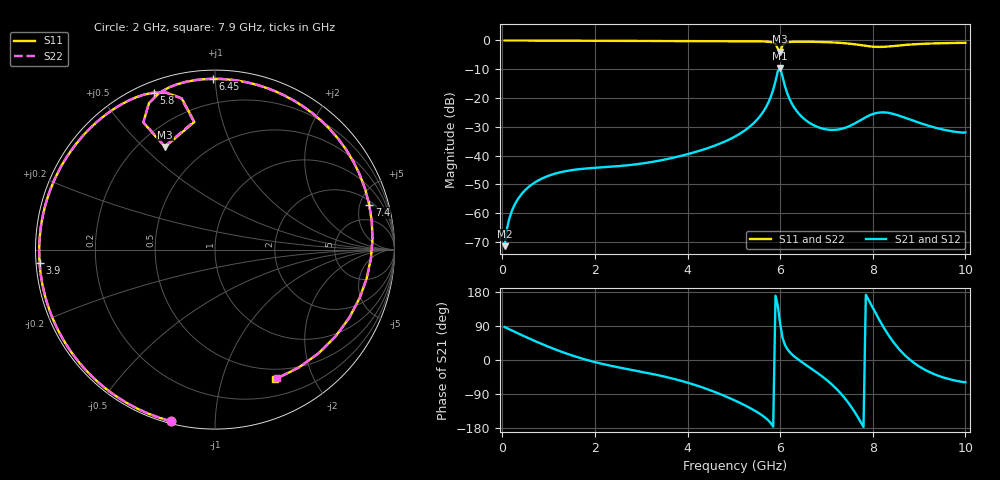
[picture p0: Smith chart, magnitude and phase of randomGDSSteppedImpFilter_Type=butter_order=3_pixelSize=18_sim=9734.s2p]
! freq	dB(S11)	phase(S11)	dB(S12)	phase(S12)
!  dB(S21)	phase(S21)	dB(S22)	phase(S22)
!S-par simulation data
#  GHz  S  DB  R 50
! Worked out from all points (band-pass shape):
!   200 points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, 50 MHz to 10 GHz, reference 50 ohm
!   highest |S21| = -9.58 dB at 6 GHz (marker M1); lowest = -71.5 dB at 50 MHz (marker M2)
!   |S21| within 3 dB of the highest: 5.922 GHz to 6.052 GHz (129.7 MHz wide, 2.17 % of centre)
!   lowest |S11| = -3.9 dB at 6 GHz (marker M3), VSWR 4.50, Z = 15.2 + j29.2 ohm
!   |S11| at or under -10 dB: nowhere
!   |S22| runs from -3.9 to 0.0 dB; largest |S21 - S12| = 0
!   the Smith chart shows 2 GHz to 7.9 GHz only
!   S11 on the Smith chart (normalised r, x): 2 GHz: 0.01, -0.78; 3.9 GHz: 0.01, -0.04; 5.8 GHz: 0.05, +0.68; 6.45 GHz: 0.05, +0.99; 7.4 GHz: 2.42, +6.08; 7.9 GHz: 0.38, -1.50
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0.05  -0.00 -2.9  -71.47 87.0  -71.47 87.0  -0.00 -2.9
0.2  -0.02 -11.7  -59.51 78.2  -59.51 78.2  -0.02 -11.7
0.5  -0.04 -28.9  -51.91 61.2  -51.91 61.2  -0.04 -28.9
1.75  -0.10 -93.3  -44.57 2.8  -44.57 2.8  -0.10 -93.2
2  -0.11 -104.4  -44.24 -5.6  -44.24 -5.6  -0.11 -104.4
3.4  -0.16 -158.4  -41.72 -41.0  -41.72 -41.0  -0.16 -158.3
3.9  -0.17 -175.6  -39.93 -56.3  -39.93 -56.3  -0.17 -175.6
5.05  -0.24 144.5  -33.16 -108.4  -33.16 -108.4  -0.24 144.5
5.8  -0.55 111.2  -19.50 -166.8  -19.50 -166.8  -0.55 111.4
5.95  -2.85 99.2  -10.66 142.2  -10.66 142.2  -2.82 99.4
6  -3.93 115.9  -9.58 96.1  -9.58 96.1  -3.88 115.9
6.15  -0.67 109.7  -18.23 29.7  -18.23 29.7  -0.67 109.7
6.45  -0.43 90.7  -26.25 -4.0  -26.25 -4.0  -0.43 90.7
6.7  -0.47 75.6  -29.25 -25.1  -29.25 -25.1  -0.47 75.7
7.4  -0.96 16.2  -30.36 -101.4  -30.36 -101.4  -0.96 16.6
7.65  -1.41 -18.6  -28.50 -145.2  -28.50 -145.2  -1.40 -18.0
7.9  -1.98 -65.1  -26.26 160.7  -26.26 160.7  -1.97 -64.3
8.1  -2.25 -108.2  -25.14 114.9  -25.14 114.9  -2.25 -107.3
8.35  -2.09 -158.9  -25.19 63.7  -25.19 63.7  -2.09 -158.1
8.6  -1.70 161.9  -26.30 24.3  -26.30 24.3  -1.71 162.4
9.05  -1.19 114.7  -28.85 -20.6  -28.85 -20.6  -1.20 115.1
10  -0.82 56.4  -31.96 -58.5  -31.96 -58.5  -0.83 56.5
